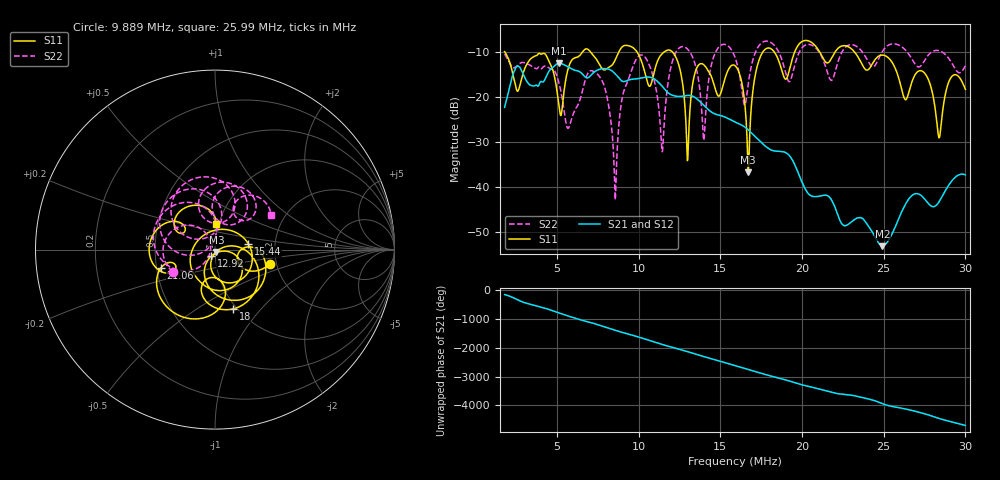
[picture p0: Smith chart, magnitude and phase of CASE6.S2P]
!Agilent Technologies,E5061B,MY49101568,A.02.00
!Date: Wed Mar 01 13:52:28 2023
!Data & Calibration Information:
!Freq	S11:SOLT2(OFF)	S21:SOLT2(OFF)	S12:SOLT2(OFF)	S22:SOLT2(OFF)
# Hz S dB R 50
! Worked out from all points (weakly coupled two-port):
!   1155 points, 1.8 MHz to 30 MHz, reference 50 ohm
!   highest |S21| = -12.59 dB at 5.123 MHz (marker M1); lowest = -53.1 dB at 24.92 MHz (marker M2)
!   lowest |S11| = -36.8 dB at 16.71 MHz (marker M3), VSWR 1.03, Z = 50.7 - j1.27 ohm
!   |S11| at or under -10 dB: start of sweep to 6.591 MHz; 12.04 MHz to 17.62 MHz (5.579 MHz wide, 37.6 % of centre); 23.19 MHz to end of sweep (the widest 3 of 7)
!   |S22| runs from -42.9 to -7.7 dB; largest |S21 - S12| = 0.003
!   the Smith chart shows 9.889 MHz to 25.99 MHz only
!   S11 on the Smith chart (normalised r, x): 9.889 MHz: 1.84, -0.32; 12.92 MHz: 0.96, -0.07; 15.44 MHz: 1.45, +0.09; 18 MHz: 0.96, -0.72; 21.06 MHz: 0.53, -0.12; 25.99 MHz: 0.97, +0.29
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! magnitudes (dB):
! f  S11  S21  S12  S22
! 1.8 MHz  -10.0  -22.4  -22.4  -10.5
! 5.123 MHz  -21.9  -12.6  -12.6  -17.0
! 6.516 MHz  -10.4  -14.8  -14.8  -19.4
! 7.811 MHz  -13.9  -13.8  -13.7  -16.8
! 8.569 MHz  -11.8  -15.0  -14.9  -42.9
! 9.889 MHz  -10.0  -16.0  -16.1  -11.5
! 11.21 MHz  -11.7  -16.8  -16.8  -21.7
! 11.48 MHz  -10.4  -17.8  -17.9  -31.5
! 12.36 MHz  -11.9  -19.9  -20.0  -9.7
! 12.92 MHz  -27.6  -19.8  -19.8  -9.2
! 13.99 MHz  -13.0  -21.9  -21.9  -29.7
! 15.44 MHz  -14.5  -24.8  -24.9  -8.7
! 15.9 MHz  -13.1  -25.6  -25.7  -11.3
! 16.71 MHz  -36.8  -27.3  -27.4  -17.3
! 18 MHz  -9.2  -31.6  -31.7  -7.8
! 20.62 MHz  -8.1  -42.1  -42.0  -8.6
! 21.06 MHz  -9.9  -42.1  -42.0  -10.2
! 24.92 MHz  -10.8  -53.1  -53.1  -10.0
! 25.31 MHz  -11.5  -51.8  -51.7  -8.6
! 25.99 MHz  -16.8  -46.4  -46.4  -8.7
! 28.39 MHz  -29.1  -43.3  -43.3  -9.8
! 30 MHz  -18.4  -37.4  -37.3  -13.2
